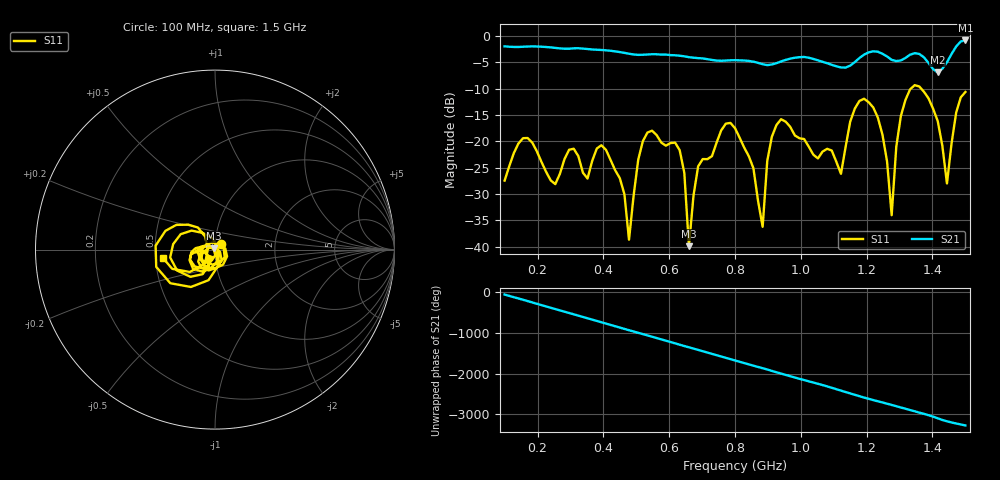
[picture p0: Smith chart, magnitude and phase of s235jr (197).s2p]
! NanoVNA-App
! Date: 2025-09-25 15:05:42
! Start: 100MHz Stop: 1,5GHz Points: 101
! S-Parameter data: F S11 S21 S12 S22
# Hz S RI R 50
!  Frequency  S11_Real  S11_Imag  S21_Real  S21_Imag  S12_Real  S12_Imag  S22_Real  S22_Imag
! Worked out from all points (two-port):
!   101 points, 100 MHz to 1.5 GHz, reference 50 ohm
!   highest |S21| = -0.85 dB at 1.5 GHz (marker M1); lowest = -6.9 dB at 1.416 GHz (marker M2)
!   |S21| within 3 dB of the highest: start of sweep to 644.5 MHz; 1.185 GHz to 1.261 GHz (75.6 MHz wide, 6.18 % of centre) (the widest 2 of 4)
!   lowest |S11| = -39.9 dB at 660 MHz (marker M3), VSWR 1.02, Z = 49.2 + j0.63 ohm
!   |S11| at or under -10 dB: start of sweep to 1.334 GHz; 1.366 GHz to end of sweep
!   S12 and S22 are empty: the file has one direction only
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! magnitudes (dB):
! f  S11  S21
! 100 MHz  -27.5  -2.0
! 156 MHz  -19.4  -2.0
! 338 MHz  -26.0  -2.4
! 408 MHz  -21.6  -2.7
! 478 MHz  -38.7  -3.4
! 520 MHz  -20.0  -3.6
! 576 MHz  -20.2  -3.5
! 632 MHz  -21.7  -3.7
! 660 MHz  -39.9  -4.0
! 688 MHz  -24.8  -4.2
! 800 MHz  -17.5  -4.6
! 884 MHz  -36.2  -5.4
! 926 MHz  -16.9  -5.2
! 1.038 GHz  -22.5  -4.4
! 1.122 GHz  -26.2  -6.0
! 1.206 GHz  -12.6  -3.1
! 1.276 GHz  -34.0  -4.5
! 1.29 GHz  -21.0  -4.8
! 1.332 GHz  -10.1  -3.6
! 1.416 GHz  -16.2  -6.9
! 1.444 GHz  -28.0  -5.0
! 1.5 GHz  -10.6  -0.8
